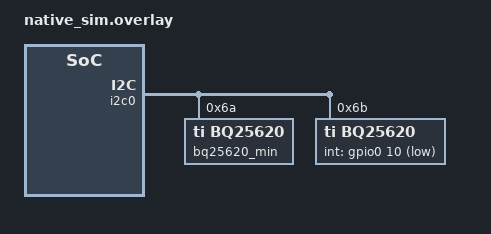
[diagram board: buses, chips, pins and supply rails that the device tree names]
/*
 * Copyright (c) 2026 Testo SE & Co. KGaA
 *
 * SPDX-License-Identifier: Apache-2.0
 */

#include <zephyr/dt-bindings/gpio/gpio.h>

&i2c0 {
	/* Minimal configuration, initialized by the test */
	bq25620_min: bq25620@6a {
		compatible = "ti,bq25620";
		reg = <0x6a>;
		status = "okay";

		charger_min: charger {
			compatible = "ti,bq25620-charger";
			constant-charge-current-max-microamp = <1040000>;
			constant-charge-voltage-max-microvolt = <4200000>;
			zephyr,deferred-init;
		};
	};

	bq25620: bq25620@6b {
		compatible = "ti,bq25620";
		reg = <0x6b>;
		status = "okay";
		int-gpios = <&gpio0 10 GPIO_ACTIVE_LOW>;

		charger: charger {
			compatible = "ti,bq25620-charger";
			ce-gpios = <&gpio0 11 GPIO_ACTIVE_LOW>;
			constant-charge-current-max-microamp = <2000000>;
			constant-charge-voltage-max-microvolt = <4350000>;
			precharge-current-microamp = <80000>;
			charge-term-current-microamp = <120000>;
			re-charge-threshold-microvolt = <200000>;
			ti,input-current-limit-microamp = <500000>;
			ti,input-voltage-limit-microvolt = <4400000>;
			ti,min-sys-voltage-microvolt = <3120000>;
			ti,vindpm-bat-track-microvolt = <0>;
			ti,q1-fullon;
			ti,disable-timer-2x;
			ti,precharge-timer = "0.62h";
			ti,fast-charge-timer = "28h";
			ti,disable-auto-battery-discharge;
			ti,vbus-ovp-microvolt = <6300000>;
			ti,ibat-peak-current-microamp = <6000000>;
			ti,charge-rate = "2C";
			ti,thermal-regulation-celsius = <60>;
			ti,switching-frequency-hz = <1650000>;
			ti,converter-drive-strength = "normal";
			ti,ts-ignore;
		};
	};
};
